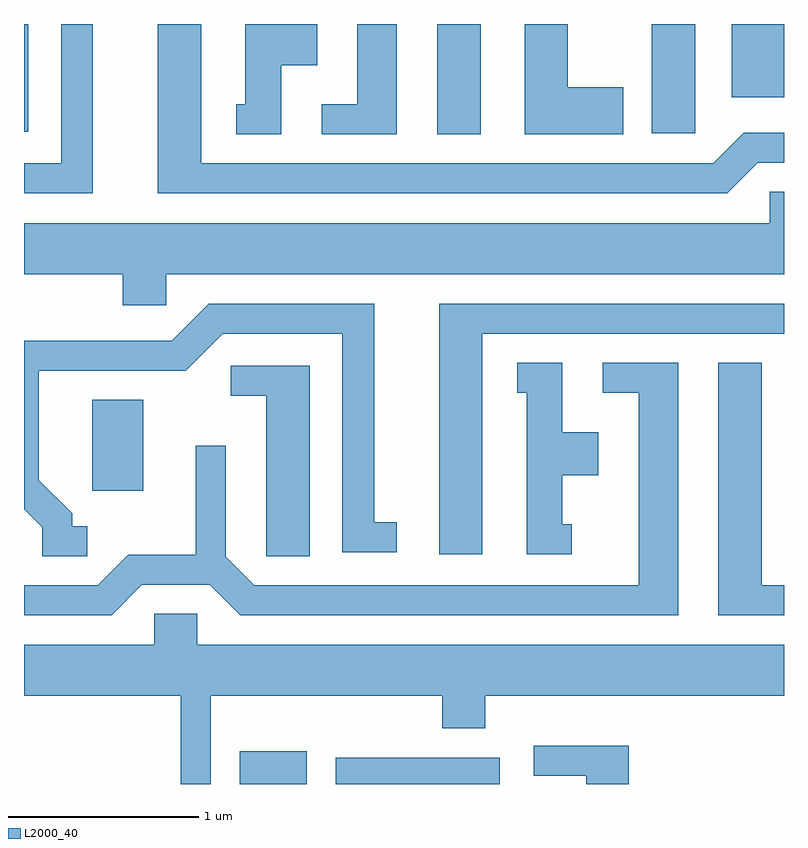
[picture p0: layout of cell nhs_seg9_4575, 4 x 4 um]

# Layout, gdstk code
import gdstk
lib = gdstk.Library(unit=1e-6, precision=1e-09)
def R(c, l, rs):  # rectangles x0, y0, x1, y1
    for r in rs: c.add(gdstk.rectangle(r[:2], r[2:], *l))
def P(c, l, *ps):  # polygons
    for p in ps: c.add(gdstk.Polygon(p, *l))
L2000_40 = (2000, 40)

nhs_seg9_4575 = lib.new_cell('nhs_seg9_4575')
R(nhs_seg9_4575, L2000_40, [(320.746,2022.432,321.099,2022.604), (321.253,2022.432,322.114,2022.569), (319.971,2023.976,320.239,2024.454), (321.786,2025.851,322.014,2026.432), (322.916,2025.856,323.144,2026.432), (319.611,2025.866,319.634,2026.432), (323.336,2026.046,323.611,2026.432)])
P(nhs_seg9_4575, L2000_40, [(322.764,2026.099),(322.474,2026.099),(322.474,2026.432),(322.246,2026.432),(322.246,2025.851),(322.764,2025.851)],
  [(320.964,2026.216),(321.154,2026.216),(321.154,2026.432),(320.776,2026.432),(320.776,2026.009),(320.728,2026.009),(320.728,2025.851),(320.964,2025.851)],
  [(323.472,2025.701),(323.611,2025.701),(323.611,2025.859),(323.399,2025.859),(323.239,2025.699),(320.544,2025.699),(320.544,2026.432),(320.316,2026.432),(320.316,2025.541),(323.312,2025.541)],
  [(319.974,2026.432),(319.806,2026.432),(319.806,2025.699),(319.611,2025.699),(319.611,2025.541),(319.974,2025.541)],
  [(321.574,2026.432),(321.366,2026.432),(321.366,2026.009),(321.178,2026.009),(321.178,2025.851),(321.574,2025.851)],
  [(320.359,2025.116),(323.611,2025.116),(323.611,2025.549),(323.536,2025.549),(323.536,2025.384),(319.611,2025.384),(319.611,2025.116),(320.131,2025.116),(320.131,2024.951),(320.359,2024.951)],
  [(322.024,2024.801),(323.611,2024.801),(323.611,2024.959),(321.796,2024.959),(321.796,2023.641),(322.024,2023.641)],
  [(319.943,2023.789),(319.864,2023.789),(319.864,2023.857),(319.689,2024.032),(319.689,2024.606),(320.462,2024.606),(320.657,2024.801),(321.286,2024.801),(321.286,2023.651),(321.573,2023.651),(321.573,2023.809),(321.454,2023.809),(321.454,2024.959),(320.584,2024.959),(320.389,2024.764),(319.611,2024.764),(319.611,2023.879),(319.706,2023.784),(319.706,2023.631),(319.943,2023.631)],
  [(320.232,2023.481),(320.589,2023.481),(320.749,2023.321),(323.054,2023.321),(323.054,2024.649),(322.658,2024.649),(322.658,2024.491),(322.846,2024.491),(322.846,2023.479),(320.822,2023.479),(320.674,2023.627),(320.674,2024.213),(320.516,2024.213),(320.516,2023.639),(320.159,2023.639),(319.999,2023.479),(319.611,2023.479),(319.611,2023.321),(320.072,2023.321)],
  [(322.493,2023.799),(322.444,2023.799),(322.444,2024.056),(322.634,2024.056),(322.634,2024.284),(322.444,2024.284),(322.444,2024.649),(322.208,2024.649),(322.208,2024.491),(322.256,2024.491),(322.256,2023.641),(322.493,2023.641)],
  [(323.611,2023.479),(323.494,2023.479),(323.494,2024.649),(323.266,2024.649),(323.266,2023.321),(323.611,2023.321)],
  [(321.114,2024.634),(320.698,2024.634),(320.698,2024.476),(320.886,2024.476),(320.886,2023.631),(321.114,2023.631)],
  [(320.594,2022.896),(321.811,2022.896),(321.811,2022.726),(322.039,2022.726),(322.039,2022.896),(323.611,2022.896),(323.611,2023.164),(320.524,2023.164),(320.524,2023.329),(320.296,2023.329),(320.296,2023.164),(319.611,2023.164),(319.611,2022.896),(320.436,2022.896),(320.436,2022.432),(320.594,2022.432)],
  [(322.794,2022.634),(322.293,2022.634),(322.293,2022.476),(322.571,2022.476),(322.571,2022.432),(322.794,2022.432)])

lib.write_gds('nhs_seg9_4575.gds')
